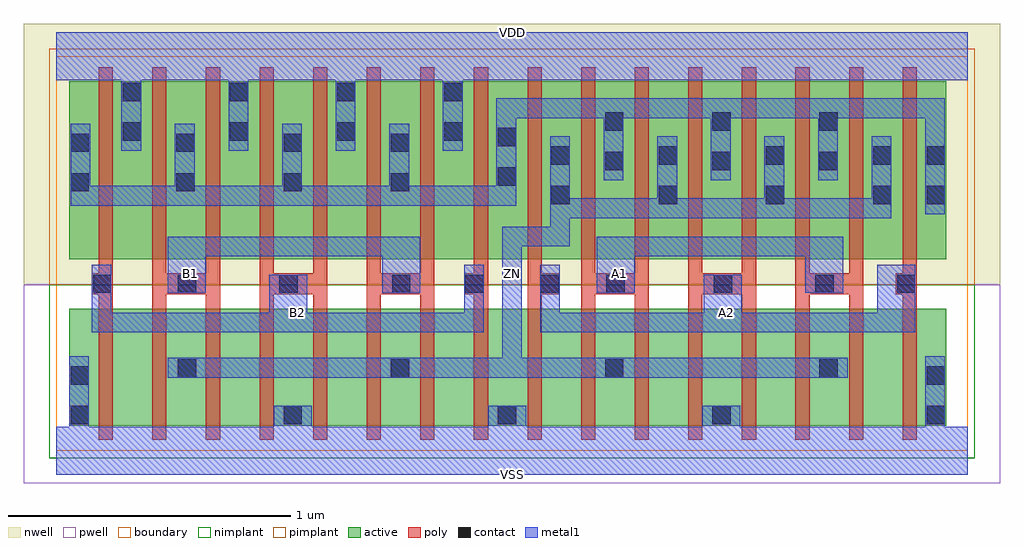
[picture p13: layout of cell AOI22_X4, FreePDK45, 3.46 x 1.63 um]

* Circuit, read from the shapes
.subckt AOI22_X4 A1 A2 B1 B2 VDD VSS ZN
M1 n1 B2 VSS VSUBS nfet w=0.415u l=0.05u
M2 ZN B1 n1 VSUBS nfet w=0.415u l=0.05u
M3 n2 B1 ZN VSUBS nfet w=0.415u l=0.05u
M4 VSS B2 n2 VSUBS nfet w=0.415u l=0.05u
M5 n3 B2 VSS VSUBS nfet w=0.415u l=0.05u
M6 ZN B1 n3 VSUBS nfet w=0.415u l=0.05u
M7 n4 B1 ZN VSUBS nfet w=0.415u l=0.05u
M8 VSS B2 n4 VSUBS nfet w=0.415u l=0.05u
M9 n5 A2 VSS VSUBS nfet w=0.415u l=0.05u
M10 ZN A1 n5 VSUBS nfet w=0.415u l=0.05u
M11 n6 A1 ZN VSUBS nfet w=0.415u l=0.05u
M12 VSS A2 n6 VSUBS nfet w=0.415u l=0.05u
M13 n7 A2 VSS VSUBS nfet w=0.415u l=0.05u
M14 ZN A1 n7 VSUBS nfet w=0.415u l=0.05u
M15 n8 A1 ZN VSUBS nfet w=0.415u l=0.05u
M16 VSS A2 n8 VSUBS nfet w=0.415u l=0.05u
M17 VDD B2 n9 n10 pfet w=0.63u l=0.05u m=4
M18 n9 B1 VDD n10 pfet w=0.63u l=0.05u m=4
M19 ZN A2 n9 n10 pfet w=0.63u l=0.05u m=4
M20 n9 A1 ZN n10 pfet w=0.63u l=0.05u m=4
.ends

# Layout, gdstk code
import gdstk
lib = gdstk.Library(unit=1e-6, precision=5e-10)
def R(c, l, rs):  # rectangles x0, y0, x1, y1
    for r in rs: c.add(gdstk.rectangle(r[:2], r[2:], *l))
def A(c, l, x, y, w, h, nx, ny, dx, dy):  # array of equal rectangles
    R(c, l, [(x+i*dx, y+j*dy, x+i*dx+w, y+j*dy+h) for i in range(nx) for j in range(ny)])
def P(c, l, *ps):  # polygons
    for p in ps: c.add(gdstk.Polygon(p, *l))
active = (1, 0)
pwell = (2, 0)
nwell = (3, 0)
nimplant = (4, 0)
pimplant = (5, 0)
poly = (9, 0)
contact = (10, 0)
metal1 = (11, 0)
boundary = (235, 0)

aoi22_x4 = lib.new_cell('AOI22_X4')
R(aoi22_x4, active, [(0.045,0.09,3.155,0.505), (0.045,0.68,3.155,1.31)])
R(aoi22_x4, pwell, [(-0.115,-0.115,3.345,0.59)])
R(aoi22_x4, nwell, [(-0.115,0.59,3.345,1.515)])
R(aoi22_x4, nimplant, [(-0.025,-0.025,3.255,0.59)])
R(aoi22_x4, pimplant, [(-0.025,0.59,3.255,1.425)])
P(aoi22_x4, poly, [(2.975,0.555),(3,0.555),(3,0.04),(3.05,0.04),(3.05,1.36),(3,1.36),(3,0.63),(2.975,0.63)],
  [(2.62,0.04),(2.67,0.04),(2.67,0.555),(2.81,0.555),(2.81,0.04),(2.86,0.04),(2.86,1.36),(2.81,1.36),(2.81,0.63),(2.67,0.63),(2.67,1.36),(2.62,1.36)],
  [(2.24,0.04),(2.29,0.04),(2.29,0.555),(2.43,0.555),(2.43,0.04),(2.48,0.04),(2.48,1.36),(2.43,1.36),(2.43,0.63),(2.29,0.63),(2.29,1.36),(2.24,1.36)],
  [(1.86,0.04),(1.91,0.04),(1.91,0.555),(2.05,0.555),(2.05,0.04),(2.1,0.04),(2.1,1.36),(2.05,1.36),(2.05,0.63),(1.91,0.63),(1.91,1.36),(1.86,1.36)],
  [(1.67,0.04),(1.72,0.04),(1.72,0.555),(1.785,0.555),(1.785,0.63),(1.72,0.63),(1.72,1.36),(1.67,1.36)],
  [(1.445,0.555),(1.48,0.555),(1.48,0.04),(1.53,0.04),(1.53,1.36),(1.48,1.36),(1.48,0.63),(1.445,0.63)],
  [(1.1,0.04),(1.15,0.04),(1.15,0.555),(1.29,0.555),(1.29,0.04),(1.34,0.04),(1.34,1.36),(1.29,1.36),(1.29,0.63),(1.15,0.63),(1.15,1.36),(1.1,1.36)],
  [(0.72,0.04),(0.77,0.04),(0.77,0.555),(0.91,0.555),(0.91,0.04),(0.96,0.04),(0.96,1.36),(0.91,1.36),(0.91,0.63),(0.77,0.63),(0.77,1.36),(0.72,1.36)],
  [(0.34,0.04),(0.39,0.04),(0.39,0.555),(0.53,0.555),(0.53,0.04),(0.58,0.04),(0.58,1.36),(0.53,1.36),(0.53,0.63),(0.39,0.63),(0.39,1.36),(0.34,1.36)],
  [(0.125,0.555),(0.15,0.555),(0.15,0.04),(0.2,0.04),(0.2,1.36),(0.15,1.36),(0.15,0.63),(0.125,0.63)])
A(aoi22_x4, contact, 0.805, 0.095, 0.065, 0.065, 4, 1, 0.76, 0)
A(aoi22_x4, contact, 1.185, 0.26, 0.065, 0.065, 3, 1, 0.76, 0)
A(aoi22_x4, contact, 1.755, 0.875, 0.065, 0.065, 4, 2, 0.38, 0.14)
A(aoi22_x4, contact, 0.425, 0.92, 0.065, 0.065, 3, 2, 0.38, 0.14)
A(aoi22_x4, contact, 1.945, 0.995, 0.065, 0.065, 3, 2, 0.38, 0.14)
A(aoi22_x4, contact, 0.235, 1.1, 0.065, 0.065, 4, 2, 0.38, 0.14)
R(aoi22_x4, contact, [(0.05,0.095,0.115,0.16), (0.05,0.235,0.115,0.3), (3.085,0.235,3.15,0.3), (0.43,0.26,0.495,0.325), (0.13,0.56,0.195,0.625), (0.43,0.56,0.495,0.625), (0.79,0.56,0.855,0.625), (1.19,0.56,1.255,0.625), (1.45,0.56,1.515,0.625), (1.715,0.56,1.78,0.625), (1.95,0.56,2.015,0.625), (2.33,0.56,2.395,0.625), (2.69,0.56,2.755,0.625), (2.98,0.56,3.045,0.625), (3.085,0.875,3.15,0.94), (0.05,0.92,0.115,0.985), (1.565,0.94,1.63,1.005), (3.085,1.015,3.15,1.08), (0.05,1.06,0.115,1.125), (1.565,1.08,1.63,1.145)])
P(aoi22_x4, metal1, [(0,-0.085),(3.23,-0.085),(3.23,0.085),(3.15,0.085),(3.15,0.335),(3.08,0.335),(3.08,0.085),(2.425,0.085),(2.425,0.16),(2.29,0.16),(2.29,0.085),(1.665,0.085),(1.665,0.16),(1.53,0.16),(1.53,0.085),(0.905,0.085),(0.905,0.16),(0.77,0.16),(0.77,0.085),(0.115,0.085),(0.115,0.335),(0.045,0.335),(0.045,0.085),(0,0.085)],
  [(0,1.315),(0.23,1.315),(0.23,1.065),(0.3,1.065),(0.3,1.315),(0.61,1.315),(0.61,1.065),(0.68,1.065),(0.68,1.315),(0.99,1.315),(0.99,1.065),(1.06,1.065),(1.06,1.315),(1.37,1.315),(1.37,1.065),(1.44,1.065),(1.44,1.315),(3.23,1.315),(3.23,1.485),(0,1.485)],
  [(1.65,0.725),(1.82,0.725),(1.82,0.825),(2.96,0.825),(2.96,1.115),(2.89,1.115),(2.89,0.895),(2.58,0.895),(2.58,1.115),(2.51,1.115),(2.51,0.895),(2.2,0.895),(2.2,1.115),(2.13,1.115),(2.13,0.895),(1.82,0.895),(1.82,1.115),(1.75,1.115),(1.75,0.795),(1.58,0.795),(1.58,0.33),(0.395,0.33),(0.395,0.26),(2.805,0.26),(2.805,0.33),(1.65,0.33)],
  [(0.125,0.42),(1.515,0.42),(1.515,0.66),(1.445,0.66),(1.445,0.49),(0.89,0.49),(0.89,0.625),(0.755,0.625),(0.755,0.49),(0.195,0.49),(0.195,0.66),(0.125,0.66)],
  [(0.395,0.56),(0.53,0.56),(0.53,0.69),(1.155,0.69),(1.155,0.56),(1.29,0.56),(1.29,0.76),(0.395,0.76)],
  [(1.715,0.42),(3.045,0.42),(3.045,0.66),(2.91,0.66),(2.91,0.49),(2.43,0.49),(2.43,0.625),(2.295,0.625),(2.295,0.49),(1.785,0.49),(1.785,0.66),(1.715,0.66)],
  [(1.915,0.56),(2.05,0.56),(2.05,0.69),(2.655,0.69),(2.655,0.56),(2.79,0.56),(2.79,0.76),(1.915,0.76)],
  [(0,1.315),(0.23,1.315),(0.23,1.065),(0.3,1.065),(0.3,1.315),(0.61,1.315),(0.61,1.065),(0.68,1.065),(0.68,1.315),(0.99,1.315),(0.99,1.065),(1.06,1.065),(1.06,1.315),(1.37,1.315),(1.37,1.065),(1.44,1.065),(1.44,1.315),(3.23,1.315),(3.23,1.485),(0,1.485)],
  [(0,-0.085),(3.23,-0.085),(3.23,0.085),(3.15,0.085),(3.15,0.335),(3.08,0.335),(3.08,0.085),(2.425,0.085),(2.425,0.16),(2.29,0.16),(2.29,0.085),(1.665,0.085),(1.665,0.16),(1.53,0.16),(1.53,0.085),(0.905,0.085),(0.905,0.16),(0.77,0.16),(0.77,0.085),(0.115,0.085),(0.115,0.335),(0.045,0.335),(0.045,0.085),(0,0.085)],
  [(0.05,0.87),(1.63,0.87),(1.63,1.18),(1.94,1.18),(1.94,0.96),(2.01,0.96),(2.01,1.18),(2.32,1.18),(2.32,0.96),(2.39,0.96),(2.39,1.18),(2.7,1.18),(2.7,0.96),(2.77,0.96),(2.77,1.18),(3.08,1.18),(3.08,0.84),(3.15,0.84),(3.15,1.25),(1.56,1.25),(1.56,0.94),(1.25,0.94),(1.25,1.16),(1.18,1.16),(1.18,0.94),(0.87,0.94),(0.87,1.16),(0.8,1.16),(0.8,0.94),(0.49,0.94),(0.49,1.16),(0.42,1.16),(0.42,0.94),(0.12,0.94),(0.12,1.16),(0.05,1.16)],
  [(1.715,0.42),(3.045,0.42),(3.045,0.66),(2.91,0.66),(2.91,0.49),(2.43,0.49),(2.43,0.625),(2.295,0.625),(2.295,0.49),(1.785,0.49),(1.785,0.66),(1.715,0.66)],
  [(1.65,0.725),(1.82,0.725),(1.82,0.825),(2.96,0.825),(2.96,1.115),(2.89,1.115),(2.89,0.895),(2.58,0.895),(2.58,1.115),(2.51,1.115),(2.51,0.895),(2.2,0.895),(2.2,1.115),(2.13,1.115),(2.13,0.895),(1.82,0.895),(1.82,1.115),(1.75,1.115),(1.75,0.795),(1.58,0.795),(1.58,0.33),(0.395,0.33),(0.395,0.26),(2.805,0.26),(2.805,0.33),(1.65,0.33)],
  [(1.915,0.56),(2.05,0.56),(2.05,0.69),(2.655,0.69),(2.655,0.56),(2.79,0.56),(2.79,0.76),(1.915,0.76)],
  [(0.125,0.42),(1.515,0.42),(1.515,0.66),(1.445,0.66),(1.445,0.49),(0.89,0.49),(0.89,0.625),(0.755,0.625),(0.755,0.49),(0.195,0.49),(0.195,0.66),(0.125,0.66)],
  [(0.395,0.56),(0.53,0.56),(0.53,0.69),(1.155,0.69),(1.155,0.56),(1.29,0.56),(1.29,0.76),(0.395,0.76)])
R(aoi22_x4, boundary, [(0,0,3.23,1.4)])
aoi22_x4.add(gdstk.Label('ZN', (1.615,0.63), layer=11, texttype=0))
aoi22_x4.add(gdstk.Label('VSS', (1.615,-0.085), layer=11, texttype=0))
aoi22_x4.add(gdstk.Label('VDD', (1.615,1.485), layer=11, texttype=0))
aoi22_x4.add(gdstk.Label('B2', (0.855,0.49), layer=11, texttype=0))
aoi22_x4.add(gdstk.Label('B1', (0.475,0.63), layer=11, texttype=0))
aoi22_x4.add(gdstk.Label('A2', (2.375,0.49), layer=11, texttype=0))
aoi22_x4.add(gdstk.Label('A1', (1.995,0.63), layer=11, texttype=0))

lib.write_gds('AOI22_X4.gds')
